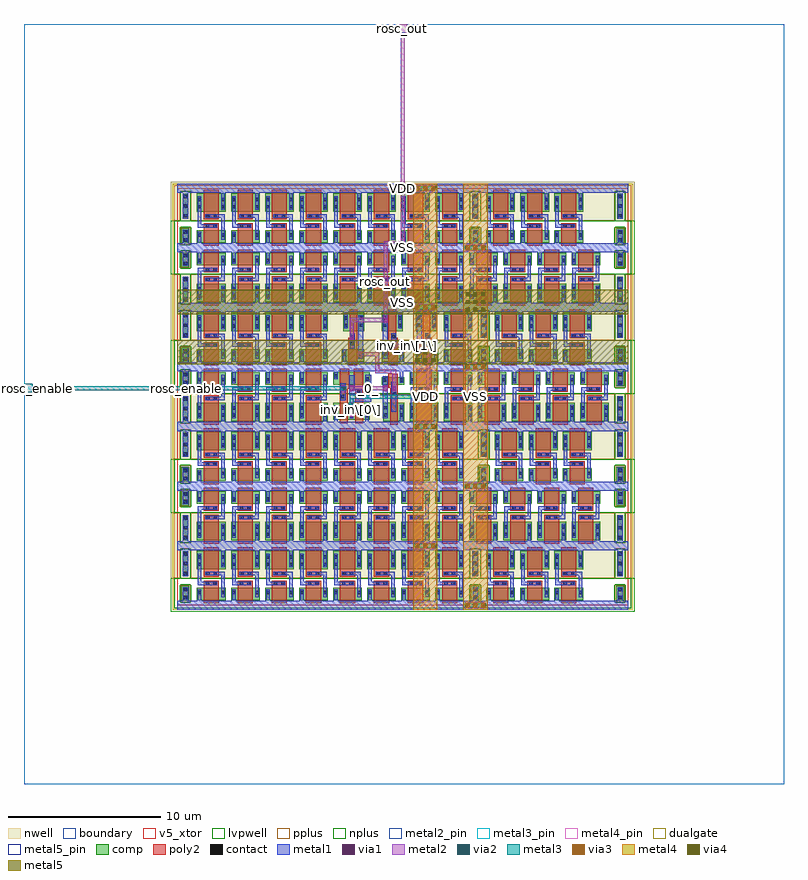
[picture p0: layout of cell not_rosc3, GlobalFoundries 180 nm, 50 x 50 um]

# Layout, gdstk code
from math import pi, radians
import gdstk
lib = gdstk.Library(unit=1e-6, precision=1e-09)
def R(c, l, rs):  # rectangles x0, y0, x1, y1
    for r in rs: c.add(gdstk.rectangle(r[:2], r[2:], *l))
def A(c, l, x, y, w, h, nx, ny, dx, dy):  # array of equal rectangles
    R(c, l, [(x+i*dx, y+j*dy, x+i*dx+w, y+j*dy+h) for i in range(nx) for j in range(ny)])
def P(c, l, *ps):  # polygons
    for p in ps: c.add(gdstk.Polygon(p, *l))
boundary = (0, 0)
nwell = (21, 0)
comp = (22, 0)
poly2 = (30, 0)
pplus = (31, 0)
nplus = (32, 0)
contact = (33, 0)
metal1 = (34, 0)
via1 = (35, 0)
metal2 = (36, 0)
metal2_pin = (36, 10)
via2 = (38, 0)
via3 = (40, 0)
via4 = (41, 0)
metal3 = (42, 0)
metal3_pin = (42, 10)
metal4 = (46, 0)
metal4_pin = (46, 10)
dualgate = (55, 0)
metal5 = (81, 0)
metal5_pin = (81, 10)
v5_xtor = (112, 1)
lvpwell = (204, 0)

gf180mcu_fd_sc_mcu7t5v0_ = lib.new_cell('gf180mcu_fd_sc_mcu7t5v0__endcap')
R(gf180mcu_fd_sc_mcu7t5v0_, boundary, [(0,0,1.12,3.92)])
R(gf180mcu_fd_sc_mcu7t5v0_, nwell, [(-0.43,1.76,1.55,4.35)])
R(gf180mcu_fd_sc_mcu7t5v0_, comp, [(0.28,0.28,0.8,1.28), (0.36,1.92,0.72,3.56)])
R(gf180mcu_fd_sc_mcu7t5v0_, pplus, [(0.2,0.2,0.88,1.36)])
P(gf180mcu_fd_sc_mcu7t5v0_, pplus, [(-0.2,1.76),(-0.2,4.12),(1.32,4.12),(1.32,1.76),(0.88,1.76),(0.88,3.72),(0.2,3.72),(0.2,1.76)])
P(gf180mcu_fd_sc_mcu7t5v0_, nplus, [(-0.2,-0.2),(-0.2,1.76),(0.2,1.76),(0.2,3.72),(0.88,3.72),(0.88,1.36),(0.2,1.36),(0.2,0.2),(0.88,0.2),(0.88,3.72),(0.88,1.76),(1.32,1.76),(1.32,-0.2)])
A(gf180mcu_fd_sc_mcu7t5v0_, contact, 0.43, 1.99, 0.22, 0.22, 1, 3, 0, 0.64)
R(gf180mcu_fd_sc_mcu7t5v0_, contact, [(0.43,0.4,0.65,0.62), (0.43,0.905,0.65,1.125)])
P(gf180mcu_fd_sc_mcu7t5v0_, metal1, [(0,-0.3),(0,0.3),(0.37,0.3),(0.37,1.19),(0.71,1.19),(0.71,0.3),(1.12,0.3),(1.12,-0.3)],
  [(0.37,1.92),(0.37,3.62),(0,3.62),(0,4.22),(1.12,4.22),(1.12,3.62),(0.71,3.62),(0.71,1.92)])
R(gf180mcu_fd_sc_mcu7t5v0_, dualgate, [(-0.28,-0.28,1.4,4.2)])
R(gf180mcu_fd_sc_mcu7t5v0_, v5_xtor, [(0,0,1.12,3.92)])
R(gf180mcu_fd_sc_mcu7t5v0_, lvpwell, [(-0.43,-0.43,1.55,1.76)])
gf180mcu_fd_sc_mcu7t5v0_.add(gdstk.Label('VSS', (0.56,-0.01), layer=34, texttype=10))
gf180mcu_fd_sc_mcu7t5v0_.add(gdstk.Label('VDD', (0.56,3.935), layer=34, texttype=10))
gf180mcu_fd_sc_mcu7t5v0_.add(gdstk.Label('& Vendor GLOBALFOUNDRIES', (0,2), layer=63, texttype=63))
gf180mcu_fd_sc_mcu7t5v0_.add(gdstk.Label('& Product GF018hv5v_mcu_sc7', (0,1.5), layer=63, texttype=63))
gf180mcu_fd_sc_mcu7t5v0_.add(gdstk.Label('& Version 2015q2v1', (0,1), layer=63, texttype=63))
gf180mcu_fd_sc_mcu7t5v0_.add(gdstk.Label('& Metric 1.00', (0,0.5), layer=63, texttype=63))

c_gf180mcu_fd_sc_mcu7t5v0_ = lib.new_cell('gf180mcu_fd_sc_mcu7t5v0__filltie')
R(c_gf180mcu_fd_sc_mcu7t5v0_, boundary, [(0,0,1.12,3.92)])
R(c_gf180mcu_fd_sc_mcu7t5v0_, nwell, [(-0.43,1.76,1.55,4.35)])
R(c_gf180mcu_fd_sc_mcu7t5v0_, comp, [(0.28,0.28,0.84,1.28), (0.36,1.92,0.76,3.56)])
R(c_gf180mcu_fd_sc_mcu7t5v0_, pplus, [(0.2,0.2,0.92,1.36)])
P(c_gf180mcu_fd_sc_mcu7t5v0_, pplus, [(-0.2,1.76),(-0.2,4.12),(1.32,4.12),(1.32,1.76),(0.92,1.76),(0.92,3.72),(0.2,3.72),(0.2,1.76)])
P(c_gf180mcu_fd_sc_mcu7t5v0_, nplus, [(-0.2,-0.2),(-0.2,1.76),(0.2,1.76),(0.2,3.72),(0.92,3.72),(0.92,1.36),(0.2,1.36),(0.2,0.2),(0.92,0.2),(0.92,3.72),(0.92,1.76),(1.32,1.76),(1.32,-0.2)])
A(c_gf180mcu_fd_sc_mcu7t5v0_, contact, 0.45, 1.99, 0.22, 0.22, 1, 3, 0, 0.64)
R(c_gf180mcu_fd_sc_mcu7t5v0_, contact, [(0.45,0.4,0.67,0.62), (0.45,0.905,0.67,1.125)])
P(c_gf180mcu_fd_sc_mcu7t5v0_, metal1, [(0,-0.3),(0,0.3),(0.39,0.3),(0.39,1.185),(0.73,1.185),(0.73,0.3),(1.12,0.3),(1.12,-0.3)],
  [(0.39,1.93),(0.39,3.62),(0,3.62),(0,4.22),(1.12,4.22),(1.12,3.62),(0.73,3.62),(0.73,1.93)])
R(c_gf180mcu_fd_sc_mcu7t5v0_, dualgate, [(-0.28,-0.28,1.4,4.2)])
R(c_gf180mcu_fd_sc_mcu7t5v0_, v5_xtor, [(0,0,1.12,3.92)])
R(c_gf180mcu_fd_sc_mcu7t5v0_, lvpwell, [(-0.43,-0.43,1.55,1.76)])
c_gf180mcu_fd_sc_mcu7t5v0_.add(gdstk.Label('VDD', (0.57,3.92), layer=34, texttype=10))
c_gf180mcu_fd_sc_mcu7t5v0_.add(gdstk.Label('VSS', (0.57,0), layer=34, texttype=10))
c_gf180mcu_fd_sc_mcu7t5v0_.add(gdstk.Label('& Vendor GLOBALFOUNDRIES', (0,2), layer=63, texttype=63))
c_gf180mcu_fd_sc_mcu7t5v0_.add(gdstk.Label('& Product GF018hv5v_mcu_sc7', (0,1.5), layer=63, texttype=63))
c_gf180mcu_fd_sc_mcu7t5v0_.add(gdstk.Label('& Version 2015q2v1', (0,1), layer=63, texttype=63))
c_gf180mcu_fd_sc_mcu7t5v0_.add(gdstk.Label('& Metric 1.00', (0,0.5), layer=63, texttype=63))

c_gf180mcu_fd_sc_mcu7t5v0__ = lib.new_cell('gf180mcu_fd_sc_mcu7t5v0__fill_1')
R(c_gf180mcu_fd_sc_mcu7t5v0__, boundary, [(0,0,0.56,3.92)])
R(c_gf180mcu_fd_sc_mcu7t5v0__, nwell, [(-0.43,1.76,0.99,4.35)])
R(c_gf180mcu_fd_sc_mcu7t5v0__, pplus, [(-0.2,1.76,0.76,4.12)])
R(c_gf180mcu_fd_sc_mcu7t5v0__, nplus, [(-0.2,-0.2,0.76,1.76)])
R(c_gf180mcu_fd_sc_mcu7t5v0__, metal1, [(0,-0.3,0.56,0.3), (0,3.62,0.56,4.22)])
R(c_gf180mcu_fd_sc_mcu7t5v0__, dualgate, [(-0.28,-0.28,0.84,4.2)])
R(c_gf180mcu_fd_sc_mcu7t5v0__, v5_xtor, [(0,0,0.56,3.92)])
R(c_gf180mcu_fd_sc_mcu7t5v0__, lvpwell, [(-0.43,-0.43,0.99,1.76)])
c_gf180mcu_fd_sc_mcu7t5v0__.add(gdstk.Label('VDD', (0.275,3.89), layer=34, texttype=10))
c_gf180mcu_fd_sc_mcu7t5v0__.add(gdstk.Label('VSS', (0.265,0.025), layer=34, texttype=10))
c_gf180mcu_fd_sc_mcu7t5v0__.add(gdstk.Label('& Vendor GLOBALFOUNDRIES', (0,2), layer=63, texttype=63))
c_gf180mcu_fd_sc_mcu7t5v0__.add(gdstk.Label('& Product GF018hv5v_mcu_sc7', (0,1.5), layer=63, texttype=63))
c_gf180mcu_fd_sc_mcu7t5v0__.add(gdstk.Label('& Version 2015q2v1', (0,1), layer=63, texttype=63))
c_gf180mcu_fd_sc_mcu7t5v0__.add(gdstk.Label('& Metric 1.00', (0,0.5), layer=63, texttype=63))
c_gf180mcu_fd_sc_mcu7t5v0__.add(gdstk.Label('VNW', (0.345,3.92), layer=21, texttype=10))
c_gf180mcu_fd_sc_mcu7t5v0__.add(gdstk.Label('VPW', (0.34,-0.085), layer=204, texttype=10))

c_gf180mcu_fd_sc_mcu7t5v0___ = lib.new_cell('gf180mcu_fd_sc_mcu7t5v0__fillcap_16')
R(c_gf180mcu_fd_sc_mcu7t5v0___, boundary, [(0,0,8.96,3.92)])
R(c_gf180mcu_fd_sc_mcu7t5v0___, nwell, [(-0.43,1.76,9.39,4.35)])
A(c_gf180mcu_fd_sc_mcu7t5v0___, comp, 0.18, 0.34, 1.88, 0.82, 4, 1, 2.24, 0)
A(c_gf180mcu_fd_sc_mcu7t5v0___, comp, 0.18, 2.36, 1.88, 1.22, 4, 1, 2.24, 0)
A(c_gf180mcu_fd_sc_mcu7t5v0___, poly2, 0.62, 0.12, 1, 1.5, 4, 1, 2.24, 0)
A(c_gf180mcu_fd_sc_mcu7t5v0___, poly2, 0.62, 1.875, 1, 1.925, 4, 1, 2.24, 0)
R(c_gf180mcu_fd_sc_mcu7t5v0___, pplus, [(-0.2,1.76,9.16,4.12)])
R(c_gf180mcu_fd_sc_mcu7t5v0___, nplus, [(-0.2,-0.2,9.16,1.76)])
R(c_gf180mcu_fd_sc_mcu7t5v0___, contact, [(0.25,0.735,0.47,0.955), (1.77,0.735,1.99,0.955), (2.49,0.735,2.71,0.955), (4.01,0.735,4.23,0.955), (4.73,0.735,4.95,0.955), (6.25,0.735,6.47,0.955), (6.97,0.735,7.19,0.955), (8.49,0.735,8.71,0.955), (0.765,1.33,0.985,1.55), (1.235,1.33,1.455,1.55), (3.005,1.33,3.225,1.55), (3.475,1.33,3.695,1.55), (5.245,1.33,5.465,1.55), (5.715,1.33,5.935,1.55), (7.485,1.33,7.705,1.55), (7.955,1.33,8.175,1.55), (0.805,1.965,1.025,2.185), (1.275,1.965,1.495,2.185), (3.045,1.965,3.265,2.185), (3.515,1.965,3.735,2.185), (5.285,1.965,5.505,2.185), (5.755,1.965,5.975,2.185), (7.525,1.965,7.745,2.185), (7.995,1.965,8.215,2.185), (0.25,2.59,0.47,2.81), (1.77,2.59,1.99,2.81), (2.49,2.59,2.71,2.81), (4.01,2.59,4.23,2.81), (4.73,2.59,4.95,2.81), (6.25,2.59,6.47,2.81), (6.97,2.59,7.19,2.81), (8.49,2.59,8.71,2.81), (0.25,3.06,0.47,3.28), (1.77,3.06,1.99,3.28), (2.49,3.06,2.71,3.28), (4.01,3.06,4.23,3.28), (4.73,3.06,4.95,3.28), (6.25,3.06,6.47,3.28), (6.97,3.06,7.19,3.28), (8.49,3.06,8.71,3.28)])
P(c_gf180mcu_fd_sc_mcu7t5v0___, metal1, [(0.245,1.325),(0.245,3.39),(0.475,3.39),(0.475,1.555),(1.52,1.555),(1.52,1.325)],
  [(1.765,0.53),(1.765,1.96),(0.73,1.96),(0.73,2.19),(1.995,2.19),(1.995,0.53)],
  [(2.485,1.325),(2.485,3.39),(2.715,3.39),(2.715,1.555),(3.76,1.555),(3.76,1.325)],
  [(4.005,0.53),(4.005,1.96),(2.97,1.96),(2.97,2.19),(4.235,2.19),(4.235,0.53)],
  [(4.725,1.325),(4.725,3.39),(4.955,3.39),(4.955,1.555),(6,1.555),(6,1.325)],
  [(6.245,0.53),(6.245,1.96),(5.21,1.96),(5.21,2.19),(6.475,2.19),(6.475,0.53)],
  [(6.965,1.325),(6.965,3.39),(7.195,3.39),(7.195,1.555),(8.24,1.555),(8.24,1.325)],
  [(8.485,0.53),(8.485,1.96),(7.45,1.96),(7.45,2.19),(8.715,2.19),(8.715,0.53)],
  [(0,-0.3),(0,0.3),(0.245,0.3),(0.245,1.07),(0.475,1.07),(0.475,0.3),(2.485,0.3),(2.485,1.07),(2.715,1.07),(2.715,0.3),(4.725,0.3),(4.725,1.07),(4.955,1.07),(4.955,0.3),(6.965,0.3),(6.965,1.07),(7.195,1.07),(7.195,0.3),(8.96,0.3),(8.96,-0.3)],
  [(1.765,2.49),(1.765,3.62),(0,3.62),(0,4.22),(8.96,4.22),(8.96,3.62),(8.715,3.62),(8.715,2.49),(8.485,2.49),(8.485,3.62),(6.475,3.62),(6.475,2.49),(6.245,2.49),(6.245,3.62),(4.235,3.62),(4.235,2.49),(4.005,2.49),(4.005,3.62),(1.995,3.62),(1.995,2.49)])
R(c_gf180mcu_fd_sc_mcu7t5v0___, dualgate, [(-0.28,-0.28,9.24,4.2)])
R(c_gf180mcu_fd_sc_mcu7t5v0___, v5_xtor, [(0,0,8.96,3.92)])
R(c_gf180mcu_fd_sc_mcu7t5v0___, lvpwell, [(-0.43,-0.43,9.39,1.76)])
c_gf180mcu_fd_sc_mcu7t5v0___.add(gdstk.Label('VDD', (4.48,3.92), layer=34, texttype=10))
c_gf180mcu_fd_sc_mcu7t5v0___.add(gdstk.Label('VSS', (4.48,-0.02), layer=34, texttype=10))
c_gf180mcu_fd_sc_mcu7t5v0___.add(gdstk.Label('& Vendor GLOBALFOUNDRIES', (0,2), layer=63, texttype=63))
c_gf180mcu_fd_sc_mcu7t5v0___.add(gdstk.Label('& Product GF018hv5v_mcu_sc7', (0,1.5), layer=63, texttype=63))
c_gf180mcu_fd_sc_mcu7t5v0___.add(gdstk.Label('& Version 2015q2v1', (0,1), layer=63, texttype=63))
c_gf180mcu_fd_sc_mcu7t5v0___.add(gdstk.Label('& Metric 1.00', (0,0.5), layer=63, texttype=63))
c_gf180mcu_fd_sc_mcu7t5v0___.add(gdstk.Label('VNW', (0.345,3.92), layer=21, texttype=10))
c_gf180mcu_fd_sc_mcu7t5v0___.add(gdstk.Label('VPW', (0.34,-0.085), layer=204, texttype=10))

c_gf180mcu_fd_sc_mcu7t5v0____ = lib.new_cell('gf180mcu_fd_sc_mcu7t5v0__fill_2')
R(c_gf180mcu_fd_sc_mcu7t5v0____, boundary, [(0,0,1.12,3.92)])
R(c_gf180mcu_fd_sc_mcu7t5v0____, nwell, [(-0.43,1.76,1.55,4.35)])
R(c_gf180mcu_fd_sc_mcu7t5v0____, pplus, [(-0.2,1.76,1.32,4.12)])
R(c_gf180mcu_fd_sc_mcu7t5v0____, nplus, [(-0.2,-0.2,1.32,1.76)])
R(c_gf180mcu_fd_sc_mcu7t5v0____, metal1, [(0,-0.3,1.12,0.3), (0,3.62,1.12,4.22)])
R(c_gf180mcu_fd_sc_mcu7t5v0____, dualgate, [(-0.28,-0.28,1.4,4.2)])
R(c_gf180mcu_fd_sc_mcu7t5v0____, v5_xtor, [(0,0,1.12,3.92)])
R(c_gf180mcu_fd_sc_mcu7t5v0____, lvpwell, [(-0.43,-0.43,1.55,1.76)])
c_gf180mcu_fd_sc_mcu7t5v0____.add(gdstk.Label('VDD', (0.51,3.89), layer=34, texttype=10))
c_gf180mcu_fd_sc_mcu7t5v0____.add(gdstk.Label('VSS', (0.52,0), layer=34, texttype=10))
c_gf180mcu_fd_sc_mcu7t5v0____.add(gdstk.Label('& Vendor GLOBALFOUNDRIES', (0,2), layer=63, texttype=63))
c_gf180mcu_fd_sc_mcu7t5v0____.add(gdstk.Label('& Product GF018hv5v_mcu_sc7', (0,1.5), layer=63, texttype=63))
c_gf180mcu_fd_sc_mcu7t5v0____.add(gdstk.Label('& Version 2015q2v1', (0,1), layer=63, texttype=63))
c_gf180mcu_fd_sc_mcu7t5v0____.add(gdstk.Label('& Metric 1.00', (0,0.5), layer=63, texttype=63))
c_gf180mcu_fd_sc_mcu7t5v0____.add(gdstk.Label('VNW', (0.345,3.92), layer=21, texttype=10))
c_gf180mcu_fd_sc_mcu7t5v0____.add(gdstk.Label('VPW', (0.34,-0.085), layer=204, texttype=10))

c_gf180mcu_fd_sc_mcu7t5v0_____ = lib.new_cell('gf180mcu_fd_sc_mcu7t5v0__fillcap_4')
R(c_gf180mcu_fd_sc_mcu7t5v0_____, boundary, [(0,0,2.24,3.92)])
R(c_gf180mcu_fd_sc_mcu7t5v0_____, nwell, [(-0.43,1.76,2.67,4.35)])
R(c_gf180mcu_fd_sc_mcu7t5v0_____, comp, [(0.18,0.34,2.06,1.16), (0.18,2.36,2.06,3.58)])
R(c_gf180mcu_fd_sc_mcu7t5v0_____, poly2, [(0.62,0.12,1.62,1.62), (0.62,1.875,1.62,3.8)])
R(c_gf180mcu_fd_sc_mcu7t5v0_____, pplus, [(-0.2,1.76,2.44,4.12)])
R(c_gf180mcu_fd_sc_mcu7t5v0_____, nplus, [(-0.2,-0.2,2.44,1.76)])
R(c_gf180mcu_fd_sc_mcu7t5v0_____, contact, [(0.25,0.735,0.47,0.955), (1.77,0.735,1.99,0.955), (0.765,1.33,0.985,1.55), (1.235,1.33,1.455,1.55), (0.805,1.965,1.025,2.185), (1.275,1.965,1.495,2.185), (0.25,2.59,0.47,2.81), (1.77,2.59,1.99,2.81), (0.25,3.06,0.47,3.28), (1.77,3.06,1.99,3.28)])
P(c_gf180mcu_fd_sc_mcu7t5v0_____, metal1, [(0.245,1.325),(0.245,3.39),(0.475,3.39),(0.475,1.555),(1.52,1.555),(1.52,1.325)],
  [(1.765,0.53),(1.765,1.96),(0.73,1.96),(0.73,2.19),(1.995,2.19),(1.995,0.53)],
  [(0,-0.3),(0,0.3),(0.245,0.3),(0.245,1.095),(0.475,1.095),(0.475,0.3),(2.24,0.3),(2.24,-0.3)],
  [(1.765,2.49),(1.765,3.62),(0,3.62),(0,4.22),(2.24,4.22),(2.24,3.62),(1.995,3.62),(1.995,2.49)])
R(c_gf180mcu_fd_sc_mcu7t5v0_____, dualgate, [(-0.28,-0.28,2.52,4.2)])
R(c_gf180mcu_fd_sc_mcu7t5v0_____, v5_xtor, [(0,0,2.24,3.92)])
R(c_gf180mcu_fd_sc_mcu7t5v0_____, lvpwell, [(-0.43,-0.43,2.67,1.76)])
c_gf180mcu_fd_sc_mcu7t5v0_____.add(gdstk.Label('VDD', (1.12,3.91), layer=34, texttype=10))
c_gf180mcu_fd_sc_mcu7t5v0_____.add(gdstk.Label('VSS', (1.12,-0.03), layer=34, texttype=10))
c_gf180mcu_fd_sc_mcu7t5v0_____.add(gdstk.Label('& Vendor GLOBALFOUNDRIES', (0,2), layer=63, texttype=63))
c_gf180mcu_fd_sc_mcu7t5v0_____.add(gdstk.Label('& Product GF018hv5v_mcu_sc7', (0,1.5), layer=63, texttype=63))
c_gf180mcu_fd_sc_mcu7t5v0_____.add(gdstk.Label('& Version 2015q2v1', (0,1), layer=63, texttype=63))
c_gf180mcu_fd_sc_mcu7t5v0_____.add(gdstk.Label('& Metric 1.00', (0,0.5), layer=63, texttype=63))
c_gf180mcu_fd_sc_mcu7t5v0_____.add(gdstk.Label('VNW', (0.345,3.92), layer=21, texttype=10))
c_gf180mcu_fd_sc_mcu7t5v0_____.add(gdstk.Label('VPW', (0.34,-0.085), layer=204, texttype=10))

c_gf180mcu_fd_sc_mcu7t5v0______ = lib.new_cell('gf180mcu_fd_sc_mcu7t5v0__fillcap_8')
R(c_gf180mcu_fd_sc_mcu7t5v0______, boundary, [(0,0,4.48,3.92)])
R(c_gf180mcu_fd_sc_mcu7t5v0______, nwell, [(-0.43,1.76,4.91,4.35)])
R(c_gf180mcu_fd_sc_mcu7t5v0______, comp, [(0.18,0.34,2.06,1.16), (2.42,0.34,4.3,1.16), (0.18,2.36,2.06,3.58), (2.42,2.36,4.3,3.58)])
R(c_gf180mcu_fd_sc_mcu7t5v0______, poly2, [(0.62,0.12,1.62,1.62), (2.86,0.12,3.86,1.62), (0.62,1.875,1.62,3.8), (2.86,1.875,3.86,3.8)])
R(c_gf180mcu_fd_sc_mcu7t5v0______, pplus, [(-0.2,1.76,4.68,4.12)])
R(c_gf180mcu_fd_sc_mcu7t5v0______, nplus, [(-0.2,-0.2,4.68,1.76)])
R(c_gf180mcu_fd_sc_mcu7t5v0______, contact, [(0.25,0.735,0.47,0.955), (1.77,0.735,1.99,0.955), (2.49,0.735,2.71,0.955), (4.01,0.735,4.23,0.955), (0.765,1.33,0.985,1.55), (1.235,1.33,1.455,1.55), (3.005,1.33,3.225,1.55), (3.475,1.33,3.695,1.55), (0.805,1.965,1.025,2.185), (1.275,1.965,1.495,2.185), (3.045,1.965,3.265,2.185), (3.515,1.965,3.735,2.185), (0.25,2.59,0.47,2.81), (1.77,2.59,1.99,2.81), (2.49,2.59,2.71,2.81), (4.01,2.59,4.23,2.81), (0.25,3.06,0.47,3.28), (1.77,3.06,1.99,3.28), (2.49,3.06,2.71,3.28), (4.01,3.06,4.23,3.28)])
P(c_gf180mcu_fd_sc_mcu7t5v0______, metal1, [(0.245,1.325),(0.245,3.39),(0.475,3.39),(0.475,1.555),(1.52,1.555),(1.52,1.325)],
  [(1.765,0.53),(1.765,1.96),(0.73,1.96),(0.73,2.19),(1.995,2.19),(1.995,0.53)],
  [(2.485,1.325),(2.485,3.39),(2.715,3.39),(2.715,1.555),(3.76,1.555),(3.76,1.325)],
  [(4.005,0.53),(4.005,1.96),(2.97,1.96),(2.97,2.19),(4.235,2.19),(4.235,0.53)],
  [(0,-0.3),(0,0.3),(0.245,0.3),(0.245,1.085),(0.475,1.085),(0.475,0.3),(2.485,0.3),(2.485,1.085),(2.715,1.085),(2.715,0.3),(4.48,0.3),(4.48,-0.3)],
  [(1.765,2.49),(1.765,3.62),(0,3.62),(0,4.22),(4.48,4.22),(4.48,3.62),(4.235,3.62),(4.235,2.49),(4.005,2.49),(4.005,3.62),(1.995,3.62),(1.995,2.49)])
R(c_gf180mcu_fd_sc_mcu7t5v0______, dualgate, [(-0.28,-0.28,4.76,4.2)])
R(c_gf180mcu_fd_sc_mcu7t5v0______, v5_xtor, [(0,0,4.48,3.92)])
R(c_gf180mcu_fd_sc_mcu7t5v0______, lvpwell, [(-0.43,-0.43,4.91,1.76)])
c_gf180mcu_fd_sc_mcu7t5v0______.add(gdstk.Label('VDD', (2.24,3.91), layer=34, texttype=10))
c_gf180mcu_fd_sc_mcu7t5v0______.add(gdstk.Label('VSS', (2.24,0.01), layer=34, texttype=10))
c_gf180mcu_fd_sc_mcu7t5v0______.add(gdstk.Label('& Vendor GLOBALFOUNDRIES', (0,2), layer=63, texttype=63))
c_gf180mcu_fd_sc_mcu7t5v0______.add(gdstk.Label('& Product GF018hv5v_mcu_sc7', (0,1.5), layer=63, texttype=63))
c_gf180mcu_fd_sc_mcu7t5v0______.add(gdstk.Label('& Version 2015q2v1', (0,1), layer=63, texttype=63))
c_gf180mcu_fd_sc_mcu7t5v0______.add(gdstk.Label('& Metric 1.00', (0,0.5), layer=63, texttype=63))
c_gf180mcu_fd_sc_mcu7t5v0______.add(gdstk.Label('VNW', (0.345,3.92), layer=21, texttype=10))
c_gf180mcu_fd_sc_mcu7t5v0______.add(gdstk.Label('VPW', (0.34,-0.085), layer=204, texttype=10))

c_gf180mcu_fd_sc_mcu7t5v0_______ = lib.new_cell('gf180mcu_fd_sc_mcu7t5v0__fillcap_32')
R(c_gf180mcu_fd_sc_mcu7t5v0_______, boundary, [(0,0,17.92,3.92)])
R(c_gf180mcu_fd_sc_mcu7t5v0_______, nwell, [(-0.43,1.76,18.35,4.35)])
A(c_gf180mcu_fd_sc_mcu7t5v0_______, comp, 0.18, 0.34, 1.88, 0.82, 8, 1, 2.24, 0)
A(c_gf180mcu_fd_sc_mcu7t5v0_______, comp, 0.18, 2.36, 1.88, 1.22, 8, 1, 2.24, 0)
A(c_gf180mcu_fd_sc_mcu7t5v0_______, poly2, 0.62, 0.12, 1, 1.5, 8, 1, 2.24, 0)
A(c_gf180mcu_fd_sc_mcu7t5v0_______, poly2, 0.62, 1.875, 1, 1.925, 8, 1, 2.24, 0)
R(c_gf180mcu_fd_sc_mcu7t5v0_______, pplus, [(-0.2,1.76,18.12,4.12)])
R(c_gf180mcu_fd_sc_mcu7t5v0_______, nplus, [(-0.2,-0.2,18.12,1.76)])
R(c_gf180mcu_fd_sc_mcu7t5v0_______, contact, [(0.25,0.735,0.47,0.955), (1.77,0.735,1.99,0.955), (2.49,0.735,2.71,0.955), (4.01,0.735,4.23,0.955), (4.73,0.735,4.95,0.955), (6.25,0.735,6.47,0.955), (6.97,0.735,7.19,0.955), (8.49,0.735,8.71,0.955), (9.21,0.735,9.43,0.955), (10.73,0.735,10.95,0.955), (11.45,0.735,11.67,0.955), (12.97,0.735,13.19,0.955), (13.69,0.735,13.91,0.955), (15.21,0.735,15.43,0.955), (15.93,0.735,16.15,0.955), (17.45,0.735,17.67,0.955), (0.765,1.33,0.985,1.55), (1.235,1.33,1.455,1.55), (3.005,1.33,3.225,1.55), (3.475,1.33,3.695,1.55), (5.245,1.33,5.465,1.55), (5.715,1.33,5.935,1.55), (7.485,1.33,7.705,1.55), (7.955,1.33,8.175,1.55), (9.725,1.33,9.945,1.55), (10.195,1.33,10.415,1.55), (11.965,1.33,12.185,1.55), (12.435,1.33,12.655,1.55), (14.205,1.33,14.425,1.55), (14.675,1.33,14.895,1.55), (16.445,1.33,16.665,1.55), (16.915,1.33,17.135,1.55), (0.805,1.965,1.025,2.185), (1.275,1.965,1.495,2.185), (3.045,1.965,3.265,2.185), (3.515,1.965,3.735,2.185), (5.285,1.965,5.505,2.185), (5.755,1.965,5.975,2.185), (7.525,1.965,7.745,2.185), (7.995,1.965,8.215,2.185), (9.765,1.965,9.985,2.185), (10.235,1.965,10.455,2.185), (12.005,1.965,12.225,2.185), (12.475,1.965,12.695,2.185), (14.245,1.965,14.465,2.185), (14.715,1.965,14.935,2.185), (16.485,1.965,16.705,2.185), (16.955,1.965,17.175,2.185), (0.25,2.59,0.47,2.81), (1.77,2.59,1.99,2.81), (2.49,2.59,2.71,2.81), (4.01,2.59,4.23,2.81), (4.73,2.59,4.95,2.81), (6.25,2.59,6.47,2.81), (6.97,2.59,7.19,2.81), (8.49,2.59,8.71,2.81), (9.21,2.59,9.43,2.81), (10.73,2.59,10.95,2.81), (11.45,2.59,11.67,2.81), (12.97,2.59,13.19,2.81), (13.69,2.59,13.91,2.81), (15.21,2.59,15.43,2.81), (15.93,2.59,16.15,2.81), (17.45,2.59,17.67,2.81), (0.25,3.06,0.47,3.28), (1.77,3.06,1.99,3.28), (2.49,3.06,2.71,3.28), (4.01,3.06,4.23,3.28), (4.73,3.06,4.95,3.28), (6.25,3.06,6.47,3.28), (6.97,3.06,7.19,3.28), (8.49,3.06,8.71,3.28), (9.21,3.06,9.43,3.28), (10.73,3.06,10.95,3.28), (11.45,3.06,11.67,3.28), (12.97,3.06,13.19,3.28), (13.69,3.06,13.91,3.28), (15.21,3.06,15.43,3.28), (15.93,3.06,16.15,3.28), (17.45,3.06,17.67,3.28)])
P(c_gf180mcu_fd_sc_mcu7t5v0_______, metal1, [(0.245,1.325),(0.245,3.39),(0.475,3.39),(0.475,1.555),(1.52,1.555),(1.52,1.325)],
  [(1.765,0.53),(1.765,1.96),(0.73,1.96),(0.73,2.19),(1.995,2.19),(1.995,0.53)],
  [(2.485,1.325),(2.485,3.39),(2.715,3.39),(2.715,1.555),(3.76,1.555),(3.76,1.325)],
  [(4.005,0.53),(4.005,1.96),(2.97,1.96),(2.97,2.19),(4.235,2.19),(4.235,0.53)],
  [(4.725,1.325),(4.725,3.39),(4.955,3.39),(4.955,1.555),(6,1.555),(6,1.325)],
  [(6.245,0.53),(6.245,1.96),(5.21,1.96),(5.21,2.19),(6.475,2.19),(6.475,0.53)],
  [(6.965,1.325),(6.965,3.39),(7.195,3.39),(7.195,1.555),(8.24,1.555),(8.24,1.325)],
  [(8.485,0.53),(8.485,1.96),(7.45,1.96),(7.45,2.19),(8.715,2.19),(8.715,0.53)],
  [(9.205,1.325),(9.205,3.39),(9.435,3.39),(9.435,1.555),(10.48,1.555),(10.48,1.325)],
  [(10.725,0.53),(10.725,1.96),(9.69,1.96),(9.69,2.19),(10.955,2.19),(10.955,0.53)],
  [(11.445,1.325),(11.445,3.39),(11.675,3.39),(11.675,1.555),(12.72,1.555),(12.72,1.325)],
  [(12.965,0.53),(12.965,1.96),(11.93,1.96),(11.93,2.19),(13.195,2.19),(13.195,0.53)],
  [(13.685,1.325),(13.685,3.39),(13.915,3.39),(13.915,1.555),(14.96,1.555),(14.96,1.325)],
  [(15.205,0.53),(15.205,1.96),(14.17,1.96),(14.17,2.19),(15.435,2.19),(15.435,0.53)],
  [(15.925,1.325),(15.925,3.39),(16.155,3.39),(16.155,1.555),(17.2,1.555),(17.2,1.325)],
  [(17.445,0.53),(17.445,1.96),(16.41,1.96),(16.41,2.19),(17.675,2.19),(17.675,0.53)],
  [(0,-0.3),(0,0.3),(0.245,0.3),(0.245,1.045),(0.475,1.045),(0.475,0.3),(2.485,0.3),(2.485,1.045),(2.715,1.045),(2.715,0.3),(4.725,0.3),(4.725,1.045),(4.955,1.045),(4.955,0.3),(6.965,0.3),(6.965,1.045),(7.195,1.045),(7.195,0.3),(9.205,0.3),(9.205,1.045),(9.435,1.045),(9.435,0.3),(11.445,0.3),(11.445,1.045),(11.675,1.045),(11.675,0.3),(13.685,0.3),(13.685,1.045),(13.915,1.045),(13.915,0.3),(15.925,0.3),(15.925,1.045),(16.155,1.045),(16.155,0.3),(17.92,0.3),(17.92,-0.3)],
  [(1.765,2.49),(1.765,3.62),(0,3.62),(0,4.22),(17.92,4.22),(17.92,3.62),(17.675,3.62),(17.675,2.49),(17.445,2.49),(17.445,3.62),(15.435,3.62),(15.435,2.49),(15.205,2.49),(15.205,3.62),(13.195,3.62),(13.195,2.49),(12.965,2.49),(12.965,3.62),(10.955,3.62),(10.955,2.49),(10.725,2.49),(10.725,3.62),(8.715,3.62),(8.715,2.49),(8.485,2.49),(8.485,3.62),(6.475,3.62),(6.475,2.49),(6.245,2.49),(6.245,3.62),(4.235,3.62),(4.235,2.49),(4.005,2.49),(4.005,3.62),(1.995,3.62),(1.995,2.49)])
R(c_gf180mcu_fd_sc_mcu7t5v0_______, dualgate, [(-0.28,-0.28,18.2,4.2)])
R(c_gf180mcu_fd_sc_mcu7t5v0_______, v5_xtor, [(0,0,17.92,3.92)])
R(c_gf180mcu_fd_sc_mcu7t5v0_______, lvpwell, [(-0.43,-0.43,18.35,1.76)])
c_gf180mcu_fd_sc_mcu7t5v0_______.add(gdstk.Label('VDD', (8.925,3.905), layer=34, texttype=10))
c_gf180mcu_fd_sc_mcu7t5v0_______.add(gdstk.Label('VSS', (8.955,0.005), layer=34, texttype=10))
c_gf180mcu_fd_sc_mcu7t5v0_______.add(gdstk.Label('& Vendor GLOBALFOUNDRIES', (0,2), layer=63, texttype=63))
c_gf180mcu_fd_sc_mcu7t5v0_______.add(gdstk.Label('& Product GF018hv5v_mcu_sc7', (0,1.5), layer=63, texttype=63))
c_gf180mcu_fd_sc_mcu7t5v0_______.add(gdstk.Label('& Version 2015q2v1', (0,1), layer=63, texttype=63))
c_gf180mcu_fd_sc_mcu7t5v0_______.add(gdstk.Label('& Metric 1.00', (0,0.5), layer=63, texttype=63))
c_gf180mcu_fd_sc_mcu7t5v0_______.add(gdstk.Label('VNW', (0.345,3.92), layer=21, texttype=10))
c_gf180mcu_fd_sc_mcu7t5v0_______.add(gdstk.Label('VPW', (0.34,-0.085), layer=204, texttype=10))

c_gf180mcu_fd_sc_mcu7t5v0________ = lib.new_cell('gf180mcu_fd_sc_mcu7t5v0__clkinv_1')
R(c_gf180mcu_fd_sc_mcu7t5v0________, boundary, [(0,0,2.24,3.92)])
R(c_gf180mcu_fd_sc_mcu7t5v0________, nwell, [(-0.43,1.76,2.67,4.35)])
R(c_gf180mcu_fd_sc_mcu7t5v0________, comp, [(0.18,0.68,1.66,1.16), (0.18,2.36,1.56,3.58)])
P(c_gf180mcu_fd_sc_mcu7t5v0________, poly2, [(0.62,0.46),(0.62,3.8),(1.12,3.8),(1.12,1.38),(1.22,1.38),(1.22,0.46)])
R(c_gf180mcu_fd_sc_mcu7t5v0________, pplus, [(-0.2,1.76,2.44,4.12)])
R(c_gf180mcu_fd_sc_mcu7t5v0________, nplus, [(-0.2,-0.2,2.44,1.76)])
R(c_gf180mcu_fd_sc_mcu7t5v0________, contact, [(0.25,0.76,0.47,0.98), (1.37,0.76,1.59,0.98), (0.71,1.66,0.93,1.88), (0.25,2.58,0.47,2.8), (1.27,2.58,1.49,2.8), (0.25,3.05,0.47,3.27), (1.27,3.05,1.49,3.27)])
R(c_gf180mcu_fd_sc_mcu7t5v0________, metal1, [(1.26,0.6,1.595,3.37), (0.705,0.97,1.03,2.95)])
P(c_gf180mcu_fd_sc_mcu7t5v0________, metal1, [(0,-0.3),(0,0.3),(0.245,0.3),(0.245,1.04),(0.475,1.04),(0.475,0.3),(2.24,0.3),(2.24,-0.3)],
  [(0.245,2.48),(0.245,3.62),(0,3.62),(0,4.22),(2.24,4.22),(2.24,3.62),(0.475,3.62),(0.475,2.48)])
R(c_gf180mcu_fd_sc_mcu7t5v0________, dualgate, [(-0.28,-0.28,2.52,4.2)])
R(c_gf180mcu_fd_sc_mcu7t5v0________, v5_xtor, [(0,0,2.24,3.92)])
R(c_gf180mcu_fd_sc_mcu7t5v0________, lvpwell, [(-0.43,-0.43,2.67,1.76)])
c_gf180mcu_fd_sc_mcu7t5v0________.add(gdstk.Label('VDD', (1.4,3.92), layer=34, texttype=10))
c_gf180mcu_fd_sc_mcu7t5v0________.add(gdstk.Label('VSS', (1.4,0), layer=34, texttype=10))
c_gf180mcu_fd_sc_mcu7t5v0________.add(gdstk.Label('I', (0.84,1.96), layer=34, texttype=10))
c_gf180mcu_fd_sc_mcu7t5v0________.add(gdstk.Label('ZN', (1.4,1.96), layer=34, texttype=10))
c_gf180mcu_fd_sc_mcu7t5v0________.add(gdstk.Label('& Vendor GLOBALFOUNDRIES', (0,2), layer=63, texttype=63))
c_gf180mcu_fd_sc_mcu7t5v0________.add(gdstk.Label('& Product GF018hv5v_mcu_sc7', (0,1.5), layer=63, texttype=63))
c_gf180mcu_fd_sc_mcu7t5v0________.add(gdstk.Label('& Version 2015q2v1', (0,1), layer=63, texttype=63))
c_gf180mcu_fd_sc_mcu7t5v0________.add(gdstk.Label('& Metric 1.00', (0,0.5), layer=63, texttype=63))
c_gf180mcu_fd_sc_mcu7t5v0________.add(gdstk.Label('VNW', (0.345,3.92), layer=21, texttype=10))
c_gf180mcu_fd_sc_mcu7t5v0________.add(gdstk.Label('VPW', (0.34,-0.085), layer=204, texttype=10))

c_gf180mcu_fd_sc_mcu7t5v0_________ = lib.new_cell('gf180mcu_fd_sc_mcu7t5v0__nand2_1')
R(c_gf180mcu_fd_sc_mcu7t5v0_________, boundary, [(0,0,2.8,3.92)])
R(c_gf180mcu_fd_sc_mcu7t5v0_________, nwell, [(-0.43,1.76,3.23,4.35)])
R(c_gf180mcu_fd_sc_mcu7t5v0_________, comp, [(0.185,0.34,2.585,1.16), (0.185,2.36,2.585,3.49)])
P(c_gf180mcu_fd_sc_mcu7t5v0_________, poly2, [(0.625,0.12),(0.625,3.71),(1.125,3.71),(1.125,1.44),(1.225,1.44),(1.225,0.12)],
  [(1.545,0.12),(1.545,1.44),(1.645,1.44),(1.645,3.71),(2.145,3.71),(2.145,0.12)])
R(c_gf180mcu_fd_sc_mcu7t5v0_________, pplus, [(-0.2,1.76,3,4.12)])
R(c_gf180mcu_fd_sc_mcu7t5v0_________, nplus, [(-0.2,-0.2,3,1.76)])
A(c_gf180mcu_fd_sc_mcu7t5v0_________, contact, 0.255, 2.63, 0.22, 0.22, 3, 2, 1.02, 0.47)
R(c_gf180mcu_fd_sc_mcu7t5v0_________, contact, [(0.255,0.485,0.475,0.705), (2.295,0.675,2.515,0.895), (0.695,1.365,0.915,1.585), (1.755,1.515,1.975,1.735), (0.695,1.835,0.915,2.055)])
R(c_gf180mcu_fd_sc_mcu7t5v0_________, metal1, [(0.635,1.06,1,2.19)])
P(c_gf180mcu_fd_sc_mcu7t5v0_________, metal1, [(1.24,0.555),(1.24,1.82),(2.055,1.82),(2.055,1.44),(1.605,1.44),(1.605,0.555)],
  [(2.29,0.53),(2.29,2.07),(1.27,2.07),(1.27,3.38),(1.5,3.38),(1.5,2.3),(2.68,2.3),(2.68,0.53)],
  [(0,-0.3),(0,0.3),(0.25,0.3),(0.25,0.805),(0.48,0.805),(0.48,0.3),(2.8,0.3),(2.8,-0.3)],
  [(0.25,2.53),(0.25,3.62),(0,3.62),(0,4.22),(2.8,4.22),(2.8,3.62),(2.52,3.62),(2.52,2.53),(2.29,2.53),(2.29,3.62),(0.48,3.62),(0.48,2.53)])
R(c_gf180mcu_fd_sc_mcu7t5v0_________, dualgate, [(-0.28,-0.28,3.08,4.2)])
R(c_gf180mcu_fd_sc_mcu7t5v0_________, v5_xtor, [(0,0,2.8,3.92)])
R(c_gf180mcu_fd_sc_mcu7t5v0_________, lvpwell, [(-0.43,-0.43,3.23,1.76)])
c_gf180mcu_fd_sc_mcu7t5v0_________.add(gdstk.Label('VDD', (1.4,3.905), layer=34, texttype=10))
c_gf180mcu_fd_sc_mcu7t5v0_________.add(gdstk.Label('VSS', (1.4,-0.015), layer=34, texttype=10))
c_gf180mcu_fd_sc_mcu7t5v0_________.add(gdstk.Label('ZN', (2.52,1.96), layer=34, texttype=10))
c_gf180mcu_fd_sc_mcu7t5v0_________.add(gdstk.Label('A1', (1.4,1.4), layer=34, texttype=10))
c_gf180mcu_fd_sc_mcu7t5v0_________.add(gdstk.Label('A2', (0.84,1.4), layer=34, texttype=10))
c_gf180mcu_fd_sc_mcu7t5v0_________.add(gdstk.Label('& Vendor GLOBALFOUNDRIES', (0,2), layer=63, texttype=63))
c_gf180mcu_fd_sc_mcu7t5v0_________.add(gdstk.Label('& Product GF018hv5v_mcu_sc7', (0,1.5), layer=63, texttype=63))
c_gf180mcu_fd_sc_mcu7t5v0_________.add(gdstk.Label('& Version 2015q2v1', (0,1), layer=63, texttype=63))
c_gf180mcu_fd_sc_mcu7t5v0_________.add(gdstk.Label('& Metric 1.00', (0,0.5), layer=63, texttype=63))
c_gf180mcu_fd_sc_mcu7t5v0_________.add(gdstk.Label('VNW', (0.345,3.92), layer=21, texttype=10))
c_gf180mcu_fd_sc_mcu7t5v0_________.add(gdstk.Label('VPW', (0.34,-0.085), layer=204, texttype=10))

c_gf180mcu_fd_sc_mcu7t5v0__________ = lib.new_cell('gf180mcu_fd_sc_mcu7t5v0__inv_1')
R(c_gf180mcu_fd_sc_mcu7t5v0__________, boundary, [(0,0,2.24,3.92)])
R(c_gf180mcu_fd_sc_mcu7t5v0__________, nwell, [(-0.43,1.76,2.67,4.35)])
R(c_gf180mcu_fd_sc_mcu7t5v0__________, comp, [(0.18,0.34,1.66,1.16), (0.28,2.36,1.66,3.58)])
P(c_gf180mcu_fd_sc_mcu7t5v0__________, poly2, [(0.62,0.12),(0.62,1.93),(0.72,1.93),(0.72,3.8),(1.22,3.8),(1.22,0.12)])
R(c_gf180mcu_fd_sc_mcu7t5v0__________, pplus, [(-0.2,1.76,2.44,4.12)])
R(c_gf180mcu_fd_sc_mcu7t5v0__________, nplus, [(-0.2,-0.2,2.44,1.76)])
R(c_gf180mcu_fd_sc_mcu7t5v0__________, contact, [(0.25,0.735,0.47,0.955), (1.37,0.735,1.59,0.955), (0.79,1.42,1.01,1.64), (0.79,1.89,1.01,2.11), (0.35,2.63,0.57,2.85), (1.37,2.63,1.59,2.85), (0.35,3.1,0.57,3.32), (1.37,3.1,1.59,3.32)])
R(c_gf180mcu_fd_sc_mcu7t5v0__________, metal1, [(1.265,0.53,1.595,3.39), (0.71,1.2,1.035,2.2)])
P(c_gf180mcu_fd_sc_mcu7t5v0__________, metal1, [(0,-0.3),(0,0.3),(0.245,0.3),(0.245,1.16),(0.475,1.16),(0.475,0.3),(2.24,0.3),(2.24,-0.3)],
  [(0.345,2.53),(0.345,3.62),(0,3.62),(0,4.22),(2.24,4.22),(2.24,3.62),(0.575,3.62),(0.575,2.53)])
R(c_gf180mcu_fd_sc_mcu7t5v0__________, dualgate, [(-0.28,-0.28,2.52,4.2)])
R(c_gf180mcu_fd_sc_mcu7t5v0__________, v5_xtor, [(0,0,2.24,3.92)])
R(c_gf180mcu_fd_sc_mcu7t5v0__________, lvpwell, [(-0.43,-0.43,2.67,1.76)])
c_gf180mcu_fd_sc_mcu7t5v0__________.add(gdstk.Label('VSS', (1.12,-0.08), layer=34, texttype=10))
c_gf180mcu_fd_sc_mcu7t5v0__________.add(gdstk.Label('ZN', (1.4,1.96), layer=34, texttype=10))
c_gf180mcu_fd_sc_mcu7t5v0__________.add(gdstk.Label('I', (0.84,1.96), layer=34, texttype=10))
c_gf180mcu_fd_sc_mcu7t5v0__________.add(gdstk.Label('VDD', (1.12,3.92), layer=34, texttype=10))
c_gf180mcu_fd_sc_mcu7t5v0__________.add(gdstk.Label('& Vendor GLOBALFOUNDRIES', (0,2), layer=63, texttype=63))
c_gf180mcu_fd_sc_mcu7t5v0__________.add(gdstk.Label('& Product GF018hv5v_mcu_sc7', (0,1.5), layer=63, texttype=63))
c_gf180mcu_fd_sc_mcu7t5v0__________.add(gdstk.Label('& Version 2015q2v1', (0,1), layer=63, texttype=63))
c_gf180mcu_fd_sc_mcu7t5v0__________.add(gdstk.Label('& Metric 1.00', (0,0.5), layer=63, texttype=63))
c_gf180mcu_fd_sc_mcu7t5v0__________.add(gdstk.Label('VNW', (0.345,3.92), layer=21, texttype=10))
c_gf180mcu_fd_sc_mcu7t5v0__________.add(gdstk.Label('VPW', (0.34,-0.085), layer=204, texttype=10))

not_rosc3 = lib.new_cell('not_rosc3')
R(not_rosc3, boundary, [(0,0,50,50)])
A(not_rosc3, metal1, 10.08, 11.46, 29.68, 0.6, 1, 8, 0, 3.92)
R(not_rosc3, metal1, [(21.43,24.17,21.69,24.55), (20.87,25.85,21.13,26.23), (21.43,25.85,21.69,26.23), (23.67,25.85,23.93,26.23), (24.23,25.85,24.49,26.23), (21.99,28.09,22.25,28.47), (24.23,28.65,24.49,29.03), (25.91,28.65,26.17,29.03), (26.47,28.65,26.73,29.03), (21.43,29.21,21.69,29.59), (23.67,30.33,23.93,30.71)])
A(not_rosc3, via1, 29.05, 11.63, 0.26, 0.26, 3, 4, 0.52, 7.84)
A(not_rosc3, via1, 25.75, 15.55, 0.26, 0.26, 3, 4, 0.52, 7.84)
R(not_rosc3, via1, [(21.43,24.23,21.69,24.49), (20.87,25.91,21.13,26.17), (21.43,25.91,21.69,26.17), (23.67,25.91,23.93,26.17), (24.23,25.91,24.49,26.17), (21.99,28.15,22.25,28.41), (24.23,28.71,24.49,28.97), (25.91,28.71,26.17,28.97), (26.47,28.71,26.73,28.97), (21.43,29.27,21.69,29.53), (23.67,30.39,23.93,30.65)])
A(not_rosc3, metal2, 29.04, 11.57, 1.32, 0.38, 1, 4, 0, 7.84)
A(not_rosc3, metal2, 25.74, 15.49, 1.32, 0.38, 1, 4, 0, 7.84)
R(not_rosc3, metal2, [(21.42,24.17,21.7,25.11), (26.46,25.29,26.74,29.03), (20.86,25.71,21.14,26.23), (21.42,25.85,21.7,25.9), (23.66,25.85,23.94,25.9), (24.22,25.85,24.5,27.02), (21.42,25.9,23.94,26.18), (21.42,26.18,21.7,26.23), (23.66,26.18,23.94,26.23), (23.1,27.02,24.5,27.3), (23.1,27.3,23.38,28.14), (21.98,28.09,22.26,28.14), (21.98,28.14,23.38,28.42), (21.98,28.42,22.26,28.47), (24.22,28.65,24.5,28.7), (25.9,28.65,26.18,28.7), (24.22,28.7,26.18,28.98), (24.22,28.98,24.5,29.03), (25.9,28.98,26.18,29.03), (21.42,29.21,21.7,30.38), (23.66,30.33,23.94,30.38), (21.42,30.38,23.94,30.66), (23.66,30.66,23.94,35.42), (23.66,35.42,25.06,35.7), (24.78,35.7,25.06,49.44), (24.64,49.44,25.2,50)])
R(not_rosc3, metal2_pin, [(24.64,49.44,25.2,50)])
A(not_rosc3, via2, 29.05, 11.63, 0.26, 0.26, 3, 4, 0.52, 7.84)
A(not_rosc3, via2, 25.75, 15.55, 0.26, 0.26, 3, 4, 0.52, 7.84)
R(not_rosc3, via2, [(21.43,24.79,21.69,25.05), (26.47,25.35,26.73,25.61), (20.87,25.91,21.13,26.17)])
A(not_rosc3, via3, 29.05, 11.63, 0.26, 0.26, 3, 4, 0.52, 7.84)
A(not_rosc3, via3, 25.75, 15.55, 0.26, 0.26, 3, 4, 0.52, 7.84)
A(not_rosc3, via4, 25.75, 27.76, 0.26, 0.26, 3, 3, 0.52, 0.52)
A(not_rosc3, via4, 29.05, 31.06, 0.26, 0.26, 3, 3, 0.52, 0.52)
A(not_rosc3, metal3, 28.99, 11.62, 1.42, 0.28, 1, 4, 0, 7.84)
A(not_rosc3, metal3, 25.69, 15.54, 1.42, 0.28, 1, 4, 0, 7.84)
R(not_rosc3, metal3, [(21.37,24.78,21.75,25.06), (21.42,25.06,21.7,25.34), (21.42,25.34,26.79,25.62), (0,25.76,0.56,25.9), (0,25.9,21.19,26.18), (0,26.18,0.56,26.32)])
R(not_rosc3, metal3_pin, [(0,25.76,0.56,26.32)])
R(not_rosc3, metal4, [(25.6,11.46,27.2,39.5), (28.9,11.46,30.5,39.5)])
R(not_rosc3, metal4_pin, [(25.6,11.46,27.2,39.5), (28.9,11.46,30.5,39.5)])
R(not_rosc3, metal5, [(10.08,27.61,39.76,29.21), (10.08,30.91,39.76,32.51)])
R(not_rosc3, metal5_pin, [(10.08,27.61,39.76,29.21), (10.08,30.91,39.76,32.51)])
not_rosc3.add(gdstk.Reference(gf180mcu_fd_sc_mcu7t5v0_, (10.08,19.6), x_reflection=True))
not_rosc3.add(gdstk.Reference(gf180mcu_fd_sc_mcu7t5v0_, (10.08,11.76)))
not_rosc3.add(gdstk.Reference(c_gf180mcu_fd_sc_mcu7t5v0_, (29.12,11.76)))
not_rosc3.add(gdstk.Reference(gf180mcu_fd_sc_mcu7t5v0_, (39.76,19.6), rotation=pi))
not_rosc3.add(gdstk.Reference(gf180mcu_fd_sc_mcu7t5v0_, (39.76,11.76), rotation=pi, x_reflection=True))
not_rosc3.add(gdstk.Reference(c_gf180mcu_fd_sc_mcu7t5v0__, (38.08,19.6), x_reflection=True))
not_rosc3.add(gdstk.Reference(c_gf180mcu_fd_sc_mcu7t5v0___, (29.12,19.6), x_reflection=True))
not_rosc3.add(gdstk.Reference(c_gf180mcu_fd_sc_mcu7t5v0__, (38.08,11.76)))
not_rosc3.add(gdstk.Reference(c_gf180mcu_fd_sc_mcu7t5v0____, (36.96,11.76)))
not_rosc3.add(gdstk.Reference(c_gf180mcu_fd_sc_mcu7t5v0_____, (34.72,11.76)))
not_rosc3.add(gdstk.Reference(c_gf180mcu_fd_sc_mcu7t5v0______, (30.24,11.76)))
not_rosc3.add(gdstk.Reference(c_gf180mcu_fd_sc_mcu7t5v0_______, (11.2,19.6), x_reflection=True))
not_rosc3.add(gdstk.Reference(c_gf180mcu_fd_sc_mcu7t5v0_______, (11.2,11.76)))
not_rosc3.add(gdstk.Reference(c_gf180mcu_fd_sc_mcu7t5v0_______, (11.2,19.6)))
not_rosc3.add(gdstk.Reference(c_gf180mcu_fd_sc_mcu7t5v0__, (29.12,19.6)))
not_rosc3.add(gdstk.Reference(c_gf180mcu_fd_sc_mcu7t5v0______, (30.8,19.6)))
not_rosc3.add(gdstk.Reference(c_gf180mcu_fd_sc_mcu7t5v0_____, (35.28,19.6)))
not_rosc3.add(gdstk.Reference(c_gf180mcu_fd_sc_mcu7t5v0____, (37.52,19.6)))
not_rosc3.add(gdstk.Reference(gf180mcu_fd_sc_mcu7t5v0_, (10.08,19.6)))
not_rosc3.add(gdstk.Reference(gf180mcu_fd_sc_mcu7t5v0_, (39.76,19.6), rotation=pi, x_reflection=True))
not_rosc3.add(gdstk.Reference(c_gf180mcu_fd_sc_mcu7t5v0_, (29.68,19.6)))
not_rosc3.add(gdstk.Reference(c_gf180mcu_fd_sc_mcu7t5v0___, (11.2,27.44), x_reflection=True))
not_rosc3.add(gdstk.Reference(c_gf180mcu_fd_sc_mcu7t5v0___, (25.2,27.44), x_reflection=True))
not_rosc3.add(gdstk.Reference(c_gf180mcu_fd_sc_mcu7t5v0______, (34.16,27.44), x_reflection=True))
not_rosc3.add(gdstk.Reference(gf180mcu_fd_sc_mcu7t5v0_, (10.08,27.44), x_reflection=True))
not_rosc3.add(gdstk.Reference(gf180mcu_fd_sc_mcu7t5v0_, (39.76,27.44), rotation=pi))
not_rosc3.add(gdstk.Reference(c_gf180mcu_fd_sc_mcu7t5v0________, (25.2,27.44), rotation=pi))
not_rosc3.add(gdstk.Reference(c_gf180mcu_fd_sc_mcu7t5v0_________, (20.16,27.44), x_reflection=True))
not_rosc3.add(gdstk.Reference(gf180mcu_fd_sc_mcu7t5v0_, (10.08,27.44)))
not_rosc3.add(gdstk.Reference(c_gf180mcu_fd_sc_mcu7t5v0___, (11.2,27.44)))
not_rosc3.add(gdstk.Reference(c_gf180mcu_fd_sc_mcu7t5v0__________, (20.72,27.44)))
not_rosc3.add(gdstk.Reference(c_gf180mcu_fd_sc_mcu7t5v0__________, (25.2,27.44), rotation=pi, x_reflection=True))
not_rosc3.add(gdstk.Reference(c_gf180mcu_fd_sc_mcu7t5v0__________, (27.44,27.44), rotation=pi, x_reflection=True))
not_rosc3.add(gdstk.Reference(c_gf180mcu_fd_sc_mcu7t5v0_, (29.68,27.44)))
not_rosc3.add(gdstk.Reference(c_gf180mcu_fd_sc_mcu7t5v0_____, (27.44,27.44)))
not_rosc3.add(gdstk.Reference(c_gf180mcu_fd_sc_mcu7t5v0__, (20.16,27.44)))
not_rosc3.add(gdstk.Reference(gf180mcu_fd_sc_mcu7t5v0_, (39.76,27.44), rotation=pi, x_reflection=True))
not_rosc3.add(gdstk.Reference(c_gf180mcu_fd_sc_mcu7t5v0____, (37.52,27.44)))
not_rosc3.add(gdstk.Reference(c_gf180mcu_fd_sc_mcu7t5v0_____, (35.28,27.44)))
not_rosc3.add(gdstk.Reference(c_gf180mcu_fd_sc_mcu7t5v0______, (30.8,27.44)))
not_rosc3.add(gdstk.Reference(gf180mcu_fd_sc_mcu7t5v0_, (10.08,35.28)))
not_rosc3.add(gdstk.Reference(gf180mcu_fd_sc_mcu7t5v0_, (10.08,35.28), x_reflection=True))
not_rosc3.add(gdstk.Reference(c_gf180mcu_fd_sc_mcu7t5v0_, (29.12,35.28)))
not_rosc3.add(gdstk.Reference(gf180mcu_fd_sc_mcu7t5v0_, (39.76,35.28), rotation=pi, x_reflection=True))
not_rosc3.add(gdstk.Reference(gf180mcu_fd_sc_mcu7t5v0_, (39.76,35.28), rotation=pi))
not_rosc3.add(gdstk.Reference(c_gf180mcu_fd_sc_mcu7t5v0__, (38.08,35.28)))
not_rosc3.add(gdstk.Reference(c_gf180mcu_fd_sc_mcu7t5v0____, (36.96,35.28)))
not_rosc3.add(gdstk.Reference(c_gf180mcu_fd_sc_mcu7t5v0_____, (34.72,35.28)))
not_rosc3.add(gdstk.Reference(c_gf180mcu_fd_sc_mcu7t5v0______, (30.24,35.28)))
not_rosc3.add(gdstk.Reference(c_gf180mcu_fd_sc_mcu7t5v0__, (38.08,35.28), x_reflection=True))
not_rosc3.add(gdstk.Reference(c_gf180mcu_fd_sc_mcu7t5v0___, (29.12,35.28), x_reflection=True))
not_rosc3.add(gdstk.Reference(c_gf180mcu_fd_sc_mcu7t5v0_______, (11.2,35.28)))
not_rosc3.add(gdstk.Reference(c_gf180mcu_fd_sc_mcu7t5v0_______, (11.2,35.28), x_reflection=True))
not_rosc3.add(gdstk.Label('VDD', (24.92,39.2), layer=34, texttype=0))
not_rosc3.add(gdstk.Label('VSS', (24.92,35.28), layer=34, texttype=0))
not_rosc3.add(gdstk.Label('_0_', (22.68,26.04), layer=36, texttype=0))
not_rosc3.add(gdstk.Label('inv_in\\[0\\]', (21.56,24.64), layer=36, texttype=0))
not_rosc3.add(gdstk.Label('inv_in\\[1\\]', (25.2,28.84), layer=36, texttype=0))
not_rosc3.add(gdstk.Label('inv_out\\[2\\]', (24.36,26.6), layer=36, texttype=0))
not_rosc3.add(gdstk.Label('rosc_enable', (10.71,26.04), layer=42, texttype=0))
not_rosc3.add(gdstk.Label('rosc_out', (23.8,33.04), layer=36, texttype=0))
not_rosc3.add(gdstk.Label('VDD', (24.92,28.41), layer=81, texttype=10))
not_rosc3.add(gdstk.Label('VDD', (26.4,25.48), layer=46, texttype=10))
not_rosc3.add(gdstk.Label('VSS', (24.92,31.71), layer=81, texttype=10))
not_rosc3.add(gdstk.Label('VSS', (29.7,25.48), layer=46, texttype=10))
not_rosc3.add(gdstk.Label('rosc_enable', (0.28,26.04), layer=42, texttype=10))
not_rosc3.add(gdstk.Label('rosc_out', (24.92,49.72), layer=36, texttype=10))

lib.write_gds('not_rosc3.gds')
